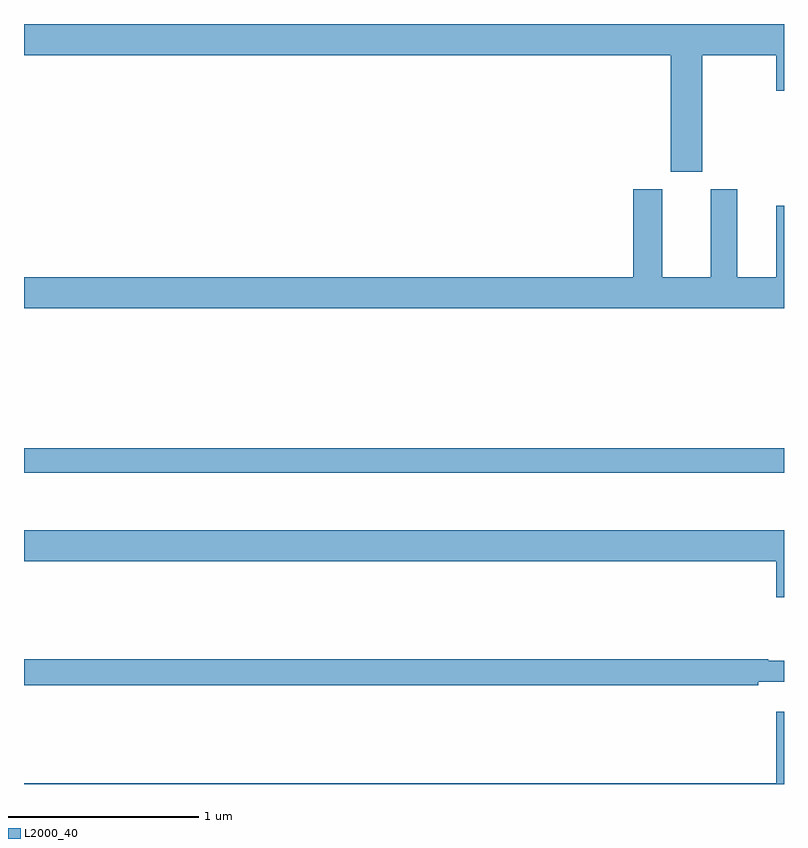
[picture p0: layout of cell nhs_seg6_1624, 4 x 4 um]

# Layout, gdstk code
import gdstk
lib = gdstk.Library(unit=1e-6, precision=1e-09)
def R(c, l, rs):  # rectangles x0, y0, x1, y1
    for r in rs: c.add(gdstk.rectangle(r[:2], r[2:], *l))
def P(c, l, *ps):  # polygons
    for p in ps: c.add(gdstk.Polygon(p, *l))
L2000_40 = (2000, 40)

nhs_seg6_1624 = lib.new_cell('nhs_seg6_1624')
R(nhs_seg6_1624, L2000_40, [(209,945.138,213,945.266)])
P(nhs_seg6_1624, L2000_40, [(212.569,947.336),(212.96,947.336),(212.96,947.148),(213,947.148),(213,947.5),(209,947.5),(209,947.336),(212.405,947.336),(212.405,946.722),(212.569,946.722)],
  [(213,946.543),(212.96,946.543),(212.96,946.168),(212.755,946.168),(212.755,946.63),(212.615,946.63),(212.615,946.168),(212.359,946.168),(212.359,946.63),(212.207,946.63),(212.207,946.168),(209,946.168),(209,946.004),(213,946.004)],
  [(213,944.836),(209,944.836),(209,944.672),(212.96,944.672),(212.96,944.484),(213,944.484)],
  [(212.864,944.039),(213,944.039),(213,944.149),(212.918,944.149),(212.918,944.156),(209,944.156),(209,944.02),(212.864,944.02)],
  [(213,943.879),(212.96,943.879),(212.96,943.504),(209,943.504),(209,943.5),(213,943.5)])

lib.write_gds('nhs_seg6_1624.gds')
